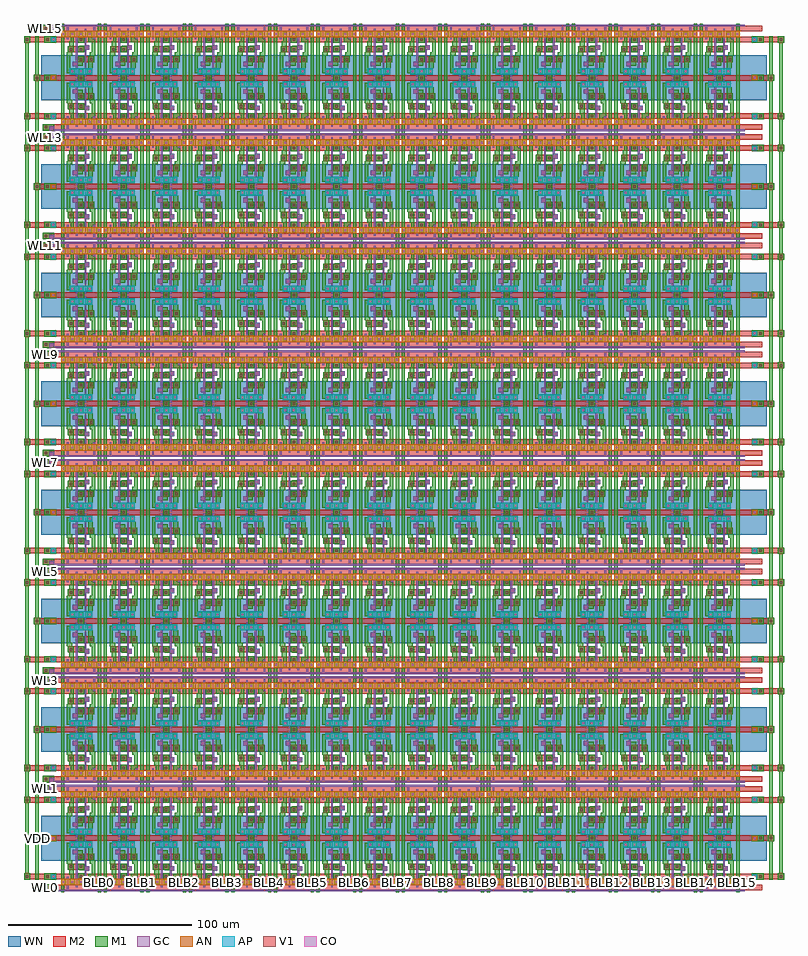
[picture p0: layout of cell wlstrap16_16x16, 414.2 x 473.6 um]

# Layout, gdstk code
import gdstk
lib = gdstk.Library(unit=1e-6, precision=1e-07)
def R(c, l, rs):  # rectangles x0, y0, x1, y1
    for r in rs: c.add(gdstk.rectangle(r[:2], r[2:], *l))
def A(c, l, x, y, w, h, nx, ny, dx, dy):  # array of equal rectangles
    R(c, l, [(x+i*dx, y+j*dy, x+i*dx+w, y+j*dy+h) for i in range(nx) for j in range(ny)])
def P(c, l, *ps):  # polygons
    for p in ps: c.add(gdstk.Polygon(p, *l))
AP = (3, 1)
AN = (3, 2)
GC = (8, 1)
CO = (11, 0)
M1 = (13, 0)
V1 = (19, 0)
M2 = (20, 0)
WN = (140, 0)

euler = lib.new_cell('euler')
R(euler, AP, [(3.5,18.7,15.7,22.1)])
R(euler, AN, [(-1.3,-1.7,20.5,1.7)])
R(euler, GC, [(0,-5.1,23.2,-4.1), (1.9,-5.1,2.9,2.9), (16.3,-5.1,17.3,2.9), (6.7,-2.9,7.7,23.3), (11.5,-2.9,12.5,23.3), (11.5,6.1,14.1,8.7), (11.5,6.9,13.3,7.9), (5.1,15.1,7.7,17.7), (5.9,15.9,7.7,16.9)])
A(euler, CO, -0.5, -0.5, 1, 1, 5, 1, 4.8, 0)
A(euler, CO, 4.3, 19.9, 1, 1, 3, 1, 4.8, 0)
R(euler, CO, [(12.3,6.9,13.3,7.9), (5.9,15.9,6.9,16.9)])
P(euler, M1, [(8.3,-1.3),(8.3,1.3),(7.9,1.3),(7.9,4.7),(11.3,4.7),(11.3,1.3),(10.9,1.3),(10.9,-1.3)],
  [(11.5,6.1),(11.5,6.5),(8.7,6.5),(8.7,6.7),(7.9,6.7),(7.9,10.1),(11.3,10.1),(11.3,8.7),(14.1,8.7),(14.1,6.1)],
  [(7.9,12.1),(7.9,15.1),(5.1,15.1),(5.1,17.7),(7.7,17.7),(7.7,17.3),(10.5,17.3),(10.5,15.5),(11.3,15.5),(11.3,12.1)],
  [(3.5,-1.3),(3.5,1.3),(3.9,1.3),(3.9,4.1),(3.1,4.1),(3.1,6.7),(2.3,6.7),(2.3,10.1),(1.9,10.1),(1.9,21.3),(3.5,21.3),(3.5,21.7),(6.1,21.7),(6.1,19.1),(3.7,19.1),(3.7,11.9),(4.9,11.9),(4.9,10.1),(5.7,10.1),(5.7,1.3),(6.1,1.3),(6.1,-1.3)],
  [(13.1,-1.3),(13.1,1.3),(13.5,1.3),(13.5,4.5),(15.5,4.5),(15.5,10.1),(14.3,10.1),(14.3,12.1),(13.5,12.1),(13.5,19.1),(13.1,19.1),(13.1,21.7),(15.7,21.7),(15.7,18.7),(16.1,18.7),(16.1,15.5),(16.9,15.5),(16.9,11.9),(17.3,11.9),(17.3,2.7),(15.7,2.7),(15.7,-1.3)],
  [(-1.3,-5.7),(-1.3,23.9),(0.5,23.9),(0.5,1.3),(1.3,1.3),(1.3,-1.3),(0.5,-1.3),(0.5,-5.7)],
  [(18.7,-5.7),(18.7,-1.3),(17.9,-1.3),(17.9,1.3),(18.7,1.3),(18.7,23.9),(20.5,23.9),(20.5,-5.7)],
  [(8.3,19.1),(8.3,22.2),(7.9,22.2),(7.9,25.6),(11.3,25.6),(11.3,22.2),(10.9,22.2),(10.9,19.1)])
A(euler, V1, 8.9, 2.3, 1.4, 1.4, 1, 3, 0, 5.4)
R(euler, V1, [(3.3,7.7,4.7,9.1), (14.5,13.1,15.9,14.5), (8.9,23.2,10.3,24.6)])
A(euler, M2, 7.9, 1.3, 3.4, 3.4, 1, 3, 0, 5.4)
R(euler, M2, [(0,-4.5,23.2,-1.5), (0,1.5,23.2,4.5), (2.3,6.7,5.7,10.1), (2.3,6.7,11.3,10.1), (7.9,12.1,16.9,15.5), (13.5,12.1,16.9,15.5), (7.9,22.2,11.3,25.6), (0,22.4,23.2,25.4)])
R(euler, WN, [(-3.5,11.7,26.7,29.1)])

wlstrap16_16x16 = lib.new_cell('wlstrap16_16x16')
R(wlstrap16_16x16, AP, [(-6.9,7.4,-4.3,10), (375.5,7.4,378.1,10), (-6.9,49.2,-4.3,51.8), (375.5,49.2,378.1,51.8), (-6.9,66.6,-4.3,69.2), (375.5,66.6,378.1,69.2), (-6.9,108.4,-4.3,111), (375.5,108.4,378.1,111), (-6.9,125.8,-4.3,128.4), (375.5,125.8,378.1,128.4), (-6.9,167.6,-4.3,170.2), (375.5,167.6,378.1,170.2), (-6.9,185,-4.3,187.6), (375.5,185,378.1,187.6), (-6.9,226.8,-4.3,229.4), (375.5,226.8,378.1,229.4), (-6.9,244.2,-4.3,246.8), (375.5,244.2,378.1,246.8), (-6.9,286,-4.3,288.6), (375.5,286,378.1,288.6), (-6.9,303.4,-4.3,306), (375.5,303.4,378.1,306), (-6.9,345.2,-4.3,347.8), (375.5,345.2,378.1,347.8), (-6.9,362.6,-4.3,365.2), (375.5,362.6,378.1,365.2), (-6.9,404.4,-4.3,407), (375.5,404.4,378.1,407), (-6.9,421.8,-4.3,424.4), (375.5,421.8,378.1,424.4), (-6.9,463.6,-4.3,466.2), (375.5,463.6,378.1,466.2)])
A(wlstrap16_16x16, AN, -6.9, 28.3, 2.6, 2.6, 1, 8, 0, 59.2)
A(wlstrap16_16x16, AN, 375.5, 28.3, 2.6, 2.6, 1, 8, 0, 59.2)
R(wlstrap16_16x16, GC, [(-6.9,0.6,-5.9,2.5), (-6.4,0.6,0,1.6), (-7.7,0.7,-5.1,3.3), (-7.7,55.9,-5.1,58.5), (-6.9,56.7,-5.9,58.6), (-6.4,57.6,0,58.6), (-6.9,59.8,-5.9,61.7), (-6.4,59.8,0,60.8), (-7.7,59.9,-5.1,62.5), (-7.7,115.1,-5.1,117.7), (-6.9,115.9,-5.9,117.8), (-6.4,116.8,0,117.8), (-6.9,119,-5.9,120.9), (-6.4,119,0,120), (-7.7,119.1,-5.1,121.7), (-7.7,174.3,-5.1,176.9), (-6.9,175.1,-5.9,177), (-6.4,176,0,177), (-6.9,178.2,-5.9,180.1), (-6.4,178.2,0,179.2), (-7.7,178.3,-5.1,180.9), (-7.7,233.5,-5.1,236.1), (-6.9,234.3,-5.9,236.2), (-6.4,235.2,0,236.2), (-6.9,237.4,-5.9,239.3), (-6.4,237.4,0,238.4), (-7.7,237.5,-5.1,240.1), (-7.7,292.7,-5.1,295.3), (-6.9,293.5,-5.9,295.4), (-6.4,294.4,0,295.4), (-6.9,296.6,-5.9,298.5), (-6.4,296.6,0,297.6), (-7.7,296.7,-5.1,299.3), (-7.7,351.9,-5.1,354.5), (-6.9,352.7,-5.9,354.6), (-6.4,353.6,0,354.6), (-6.9,355.8,-5.9,357.7), (-6.4,355.8,0,356.8), (-7.7,355.9,-5.1,358.5), (-7.7,411.1,-5.1,413.7), (-6.9,411.9,-5.9,413.8), (-6.4,412.8,0,413.8), (-6.9,415,-5.9,416.9), (-6.4,415,0,416), (-7.7,415.1,-5.1,417.7), (-7.7,470.3,-5.1,472.9), (-6.9,471.1,-5.9,473), (-6.4,472,0,473)])
A(wlstrap16_16x16, CO, -6.1, 8.2, 1, 1, 1, 3, 0, 20.9)
A(wlstrap16_16x16, CO, 376.3, 8.2, 1, 1, 1, 3, 0, 20.9)
A(wlstrap16_16x16, CO, -6.1, 67.4, 1, 1, 1, 3, 0, 20.9)
A(wlstrap16_16x16, CO, 376.3, 67.4, 1, 1, 1, 3, 0, 20.9)
A(wlstrap16_16x16, CO, -6.1, 126.6, 1, 1, 1, 3, 0, 20.9)
A(wlstrap16_16x16, CO, 376.3, 126.6, 1, 1, 1, 3, 0, 20.9)
A(wlstrap16_16x16, CO, -6.1, 185.8, 1, 1, 1, 3, 0, 20.9)
A(wlstrap16_16x16, CO, 376.3, 185.8, 1, 1, 1, 3, 0, 20.9)
A(wlstrap16_16x16, CO, -6.1, 245, 1, 1, 1, 3, 0, 20.9)
A(wlstrap16_16x16, CO, 376.3, 245, 1, 1, 1, 3, 0, 20.9)
A(wlstrap16_16x16, CO, -6.1, 304.2, 1, 1, 1, 3, 0, 20.9)
A(wlstrap16_16x16, CO, 376.3, 304.2, 1, 1, 1, 3, 0, 20.9)
A(wlstrap16_16x16, CO, -6.1, 363.4, 1, 1, 1, 3, 0, 20.9)
A(wlstrap16_16x16, CO, 376.3, 363.4, 1, 1, 1, 3, 0, 20.9)
A(wlstrap16_16x16, CO, -6.1, 422.6, 1, 1, 1, 3, 0, 20.9)
A(wlstrap16_16x16, CO, 376.3, 422.6, 1, 1, 1, 3, 0, 20.9)
R(wlstrap16_16x16, CO, [(-6.9,1.5,-5.9,2.5), (-6.9,56.7,-5.9,57.7), (-6.9,60.7,-5.9,61.7), (-6.9,115.9,-5.9,116.9), (-6.9,119.9,-5.9,120.9), (-6.9,175.1,-5.9,176.1), (-6.9,179.1,-5.9,180.1), (-6.9,234.3,-5.9,235.3), (-6.9,238.3,-5.9,239.3), (-6.9,293.5,-5.9,294.5), (-6.9,297.5,-5.9,298.5), (-6.9,352.7,-5.9,353.7), (-6.9,356.7,-5.9,357.7), (-6.9,411.9,-5.9,412.9), (-6.9,415.9,-5.9,416.9), (-6.9,471.1,-5.9,472.1)])
A(wlstrap16_16x16, M1, -10.5, 7, 6.6, 3.4, 1, 3, 0, 20.9)
A(wlstrap16_16x16, M1, -10.5, 7, 3.4, 3.4, 1, 3, 0, 20.9)
A(wlstrap16_16x16, M1, 375.1, 7, 6.6, 3.4, 1, 3, 0, 20.9)
A(wlstrap16_16x16, M1, 378.3, 7, 3.4, 3.4, 1, 3, 0, 20.9)
A(wlstrap16_16x16, M1, -6.9, 7.4, 2.6, 2.6, 1, 3, 0, 20.9)
A(wlstrap16_16x16, M1, 375.5, 7.4, 2.6, 2.6, 1, 3, 0, 20.9)
A(wlstrap16_16x16, M1, -16.1, 27.9, 3.4, 3.4, 1, 8, 0, 59.2)
A(wlstrap16_16x16, M1, 383.9, 27.9, 3.4, 3.4, 1, 8, 0, 59.2)
A(wlstrap16_16x16, M1, -10.5, 66.2, 6.6, 3.4, 1, 3, 0, 20.9)
A(wlstrap16_16x16, M1, -10.5, 66.2, 3.4, 3.4, 1, 3, 0, 20.9)
A(wlstrap16_16x16, M1, 375.1, 66.2, 6.6, 3.4, 1, 3, 0, 20.9)
A(wlstrap16_16x16, M1, 378.3, 66.2, 3.4, 3.4, 1, 3, 0, 20.9)
A(wlstrap16_16x16, M1, -6.9, 66.6, 2.6, 2.6, 1, 3, 0, 20.9)
A(wlstrap16_16x16, M1, 375.5, 66.6, 2.6, 2.6, 1, 3, 0, 20.9)
A(wlstrap16_16x16, M1, -10.5, 125.4, 6.6, 3.4, 1, 3, 0, 20.9)
A(wlstrap16_16x16, M1, -10.5, 125.4, 3.4, 3.4, 1, 3, 0, 20.9)
A(wlstrap16_16x16, M1, 375.1, 125.4, 6.6, 3.4, 1, 3, 0, 20.9)
A(wlstrap16_16x16, M1, 378.3, 125.4, 3.4, 3.4, 1, 3, 0, 20.9)
A(wlstrap16_16x16, M1, -6.9, 125.8, 2.6, 2.6, 1, 3, 0, 20.9)
A(wlstrap16_16x16, M1, 375.5, 125.8, 2.6, 2.6, 1, 3, 0, 20.9)
A(wlstrap16_16x16, M1, -10.5, 184.6, 6.6, 3.4, 1, 3, 0, 20.9)
A(wlstrap16_16x16, M1, -10.5, 184.6, 3.4, 3.4, 1, 3, 0, 20.9)
A(wlstrap16_16x16, M1, 375.1, 184.6, 6.6, 3.4, 1, 3, 0, 20.9)
A(wlstrap16_16x16, M1, 378.3, 184.6, 3.4, 3.4, 1, 3, 0, 20.9)
A(wlstrap16_16x16, M1, -6.9, 185, 2.6, 2.6, 1, 3, 0, 20.9)
A(wlstrap16_16x16, M1, 375.5, 185, 2.6, 2.6, 1, 3, 0, 20.9)
A(wlstrap16_16x16, M1, -10.5, 243.8, 6.6, 3.4, 1, 3, 0, 20.9)
A(wlstrap16_16x16, M1, -10.5, 243.8, 3.4, 3.4, 1, 3, 0, 20.9)
A(wlstrap16_16x16, M1, 375.1, 243.8, 6.6, 3.4, 1, 3, 0, 20.9)
A(wlstrap16_16x16, M1, 378.3, 243.8, 3.4, 3.4, 1, 3, 0, 20.9)
A(wlstrap16_16x16, M1, -6.9, 244.2, 2.6, 2.6, 1, 3, 0, 20.9)
A(wlstrap16_16x16, M1, 375.5, 244.2, 2.6, 2.6, 1, 3, 0, 20.9)
A(wlstrap16_16x16, M1, -10.5, 303, 6.6, 3.4, 1, 3, 0, 20.9)
A(wlstrap16_16x16, M1, -10.5, 303, 3.4, 3.4, 1, 3, 0, 20.9)
A(wlstrap16_16x16, M1, 375.1, 303, 6.6, 3.4, 1, 3, 0, 20.9)
A(wlstrap16_16x16, M1, 378.3, 303, 3.4, 3.4, 1, 3, 0, 20.9)
A(wlstrap16_16x16, M1, -6.9, 303.4, 2.6, 2.6, 1, 3, 0, 20.9)
A(wlstrap16_16x16, M1, 375.5, 303.4, 2.6, 2.6, 1, 3, 0, 20.9)
A(wlstrap16_16x16, M1, -10.5, 362.2, 6.6, 3.4, 1, 3, 0, 20.9)
A(wlstrap16_16x16, M1, -10.5, 362.2, 3.4, 3.4, 1, 3, 0, 20.9)
A(wlstrap16_16x16, M1, 375.1, 362.2, 6.6, 3.4, 1, 3, 0, 20.9)
A(wlstrap16_16x16, M1, 378.3, 362.2, 3.4, 3.4, 1, 3, 0, 20.9)
A(wlstrap16_16x16, M1, -6.9, 362.6, 2.6, 2.6, 1, 3, 0, 20.9)
A(wlstrap16_16x16, M1, 375.5, 362.6, 2.6, 2.6, 1, 3, 0, 20.9)
A(wlstrap16_16x16, M1, -10.5, 421.4, 6.6, 3.4, 1, 3, 0, 20.9)
A(wlstrap16_16x16, M1, -10.5, 421.4, 3.4, 3.4, 1, 3, 0, 20.9)
A(wlstrap16_16x16, M1, 375.1, 421.4, 6.6, 3.4, 1, 3, 0, 20.9)
A(wlstrap16_16x16, M1, 378.3, 421.4, 3.4, 3.4, 1, 3, 0, 20.9)
A(wlstrap16_16x16, M1, -6.9, 421.8, 2.6, 2.6, 1, 3, 0, 20.9)
A(wlstrap16_16x16, M1, 375.5, 421.8, 2.6, 2.6, 1, 3, 0, 20.9)
R(wlstrap16_16x16, M1, [(-11.3,0.7,-5.1,4.4), (-7.7,0.7,-5.1,3.3), (-11.3,1,-7.9,4.4), (-21.5,7,-18.1,10.4), (-20.7,7,-18.9,466.6), (-15.3,7,-13.5,466.6), (384.7,7,386.5,466.6), (389.3,7,392.7,10.4), (390.1,7,391.9,466.6), (-21.5,48.8,-18.1,52.2), (389.3,48.8,392.7,52.2), (-11.3,54.8,-7.9,58.2), (-11.3,54.8,-5.1,58.5), (-7.7,55.9,-5.1,58.5), (-11.3,59.9,-5.1,63.6), (-7.7,59.9,-5.1,62.5), (-11.3,60.2,-7.9,63.6), (-21.5,66.2,-18.1,69.6), (389.3,66.2,392.7,69.6), (-21.5,108,-18.1,111.4), (389.3,108,392.7,111.4), (-11.3,114,-7.9,117.4), (-11.3,114,-5.1,117.7), (-7.7,115.1,-5.1,117.7), (-11.3,119.1,-5.1,122.8), (-7.7,119.1,-5.1,121.7), (-11.3,119.4,-7.9,122.8), (-21.5,125.4,-18.1,128.8), (389.3,125.4,392.7,128.8), (-21.5,167.2,-18.1,170.6), (389.3,167.2,392.7,170.6), (-11.3,173.2,-7.9,176.6), (-11.3,173.2,-5.1,176.9), (-7.7,174.3,-5.1,176.9), (-11.3,178.3,-5.1,182), (-7.7,178.3,-5.1,180.9), (-11.3,178.6,-7.9,182), (-21.5,184.6,-18.1,188), (389.3,184.6,392.7,188), (-21.5,226.4,-18.1,229.8), (389.3,226.4,392.7,229.8), (-11.3,232.4,-7.9,235.8), (-11.3,232.4,-5.1,236.1), (-7.7,233.5,-5.1,236.1), (-11.3,237.5,-5.1,241.2), (-7.7,237.5,-5.1,240.1), (-11.3,237.8,-7.9,241.2), (-21.5,243.8,-18.1,247.2), (389.3,243.8,392.7,247.2), (-21.5,285.6,-18.1,289), (389.3,285.6,392.7,289), (-11.3,291.6,-7.9,295), (-11.3,291.6,-5.1,295.3), (-7.7,292.7,-5.1,295.3), (-11.3,296.7,-5.1,300.4), (-7.7,296.7,-5.1,299.3), (-11.3,297,-7.9,300.4), (-21.5,303,-18.1,306.4), (389.3,303,392.7,306.4), (-21.5,344.8,-18.1,348.2), (389.3,344.8,392.7,348.2), (-11.3,350.8,-7.9,354.2), (-11.3,350.8,-5.1,354.5), (-7.7,351.9,-5.1,354.5), (-11.3,355.9,-5.1,359.6), (-7.7,355.9,-5.1,358.5), (-11.3,356.2,-7.9,359.6), (-21.5,362.2,-18.1,365.6), (389.3,362.2,392.7,365.6), (-21.5,404,-18.1,407.4), (389.3,404,392.7,407.4), (-11.3,410,-7.9,413.4), (-11.3,410,-5.1,413.7), (-7.7,411.1,-5.1,413.7), (-11.3,415.1,-5.1,418.8), (-7.7,415.1,-5.1,417.7), (-11.3,415.4,-7.9,418.8), (-21.5,421.4,-18.1,424.8), (389.3,421.4,392.7,424.8), (-21.5,463.2,-18.1,466.6), (389.3,463.2,392.7,466.6), (-11.3,469.2,-7.9,472.6), (-11.3,469.2,-5.1,472.9), (-7.7,470.3,-5.1,472.9)])
A(wlstrap16_16x16, V1, -9.5, 8, 1.4, 1.4, 1, 3, 0, 20.9)
A(wlstrap16_16x16, V1, 379.3, 8, 1.4, 1.4, 1, 3, 0, 20.9)
A(wlstrap16_16x16, V1, -15.1, 28.9, 1.4, 1.4, 1, 8, 0, 59.2)
A(wlstrap16_16x16, V1, 384.9, 28.9, 1.4, 1.4, 1, 8, 0, 59.2)
A(wlstrap16_16x16, V1, -9.5, 67.2, 1.4, 1.4, 1, 3, 0, 20.9)
A(wlstrap16_16x16, V1, 379.3, 67.2, 1.4, 1.4, 1, 3, 0, 20.9)
A(wlstrap16_16x16, V1, -9.5, 126.4, 1.4, 1.4, 1, 3, 0, 20.9)
A(wlstrap16_16x16, V1, 379.3, 126.4, 1.4, 1.4, 1, 3, 0, 20.9)
A(wlstrap16_16x16, V1, -9.5, 185.6, 1.4, 1.4, 1, 3, 0, 20.9)
A(wlstrap16_16x16, V1, 379.3, 185.6, 1.4, 1.4, 1, 3, 0, 20.9)
A(wlstrap16_16x16, V1, -9.5, 244.8, 1.4, 1.4, 1, 3, 0, 20.9)
A(wlstrap16_16x16, V1, 379.3, 244.8, 1.4, 1.4, 1, 3, 0, 20.9)
A(wlstrap16_16x16, V1, -9.5, 304, 1.4, 1.4, 1, 3, 0, 20.9)
A(wlstrap16_16x16, V1, 379.3, 304, 1.4, 1.4, 1, 3, 0, 20.9)
A(wlstrap16_16x16, V1, -9.5, 363.2, 1.4, 1.4, 1, 3, 0, 20.9)
A(wlstrap16_16x16, V1, 379.3, 363.2, 1.4, 1.4, 1, 3, 0, 20.9)
A(wlstrap16_16x16, V1, -9.5, 422.4, 1.4, 1.4, 1, 3, 0, 20.9)
A(wlstrap16_16x16, V1, 379.3, 422.4, 1.4, 1.4, 1, 3, 0, 20.9)
R(wlstrap16_16x16, V1, [(-10.3,2,-8.9,3.4), (-20.5,8,-19.1,9.4), (390.3,8,391.7,9.4), (-20.5,49.8,-19.1,51.2), (390.3,49.8,391.7,51.2), (-10.3,55.8,-8.9,57.2), (-10.3,61.2,-8.9,62.6), (-20.5,67.2,-19.1,68.6), (390.3,67.2,391.7,68.6), (-20.5,109,-19.1,110.4), (390.3,109,391.7,110.4), (-10.3,115,-8.9,116.4), (-10.3,120.4,-8.9,121.8), (-20.5,126.4,-19.1,127.8), (390.3,126.4,391.7,127.8), (-20.5,168.2,-19.1,169.6), (390.3,168.2,391.7,169.6), (-10.3,174.2,-8.9,175.6), (-10.3,179.6,-8.9,181), (-20.5,185.6,-19.1,187), (390.3,185.6,391.7,187), (-20.5,227.4,-19.1,228.8), (390.3,227.4,391.7,228.8), (-10.3,233.4,-8.9,234.8), (-10.3,238.8,-8.9,240.2), (-20.5,244.8,-19.1,246.2), (390.3,244.8,391.7,246.2), (-20.5,286.6,-19.1,288), (390.3,286.6,391.7,288), (-10.3,292.6,-8.9,294), (-10.3,298,-8.9,299.4), (-20.5,304,-19.1,305.4), (390.3,304,391.7,305.4), (-20.5,345.8,-19.1,347.2), (390.3,345.8,391.7,347.2), (-10.3,351.8,-8.9,353.2), (-10.3,357.2,-8.9,358.6), (-20.5,363.2,-19.1,364.6), (390.3,363.2,391.7,364.6), (-20.5,405,-19.1,406.4), (390.3,405,391.7,406.4), (-10.3,411,-8.9,412.4), (-10.3,416.4,-8.9,417.8), (-20.5,422.4,-19.1,423.8), (390.3,422.4,391.7,423.8), (-20.5,464.2,-19.1,465.6), (390.3,464.2,391.7,465.6), (-10.3,470.2,-8.9,471.6)])
A(wlstrap16_16x16, M2, -10.5, 7, 3.4, 3.4, 1, 3, 0, 20.9)
A(wlstrap16_16x16, M2, 378.3, 7, 3.4, 3.4, 1, 3, 0, 20.9)
A(wlstrap16_16x16, M2, -16.1, 27.9, 3.4, 3.4, 1, 8, 0, 59.2)
A(wlstrap16_16x16, M2, 383.9, 27.9, 3.4, 3.4, 1, 8, 0, 59.2)
A(wlstrap16_16x16, M2, -16.1, 28.1, 389, 3, 1, 8, 0, 59.2)
A(wlstrap16_16x16, M2, -1.7, 28.1, 389, 3, 1, 8, 0, 59.2)
A(wlstrap16_16x16, M2, -10.5, 66.2, 3.4, 3.4, 1, 3, 0, 20.9)
A(wlstrap16_16x16, M2, 378.3, 66.2, 3.4, 3.4, 1, 3, 0, 20.9)
A(wlstrap16_16x16, M2, -10.5, 125.4, 3.4, 3.4, 1, 3, 0, 20.9)
A(wlstrap16_16x16, M2, 378.3, 125.4, 3.4, 3.4, 1, 3, 0, 20.9)
A(wlstrap16_16x16, M2, -10.5, 184.6, 3.4, 3.4, 1, 3, 0, 20.9)
A(wlstrap16_16x16, M2, 378.3, 184.6, 3.4, 3.4, 1, 3, 0, 20.9)
A(wlstrap16_16x16, M2, -10.5, 243.8, 3.4, 3.4, 1, 3, 0, 20.9)
A(wlstrap16_16x16, M2, 378.3, 243.8, 3.4, 3.4, 1, 3, 0, 20.9)
A(wlstrap16_16x16, M2, -10.5, 303, 3.4, 3.4, 1, 3, 0, 20.9)
A(wlstrap16_16x16, M2, 378.3, 303, 3.4, 3.4, 1, 3, 0, 20.9)
A(wlstrap16_16x16, M2, -10.5, 362.2, 3.4, 3.4, 1, 3, 0, 20.9)
A(wlstrap16_16x16, M2, 378.3, 362.2, 3.4, 3.4, 1, 3, 0, 20.9)
A(wlstrap16_16x16, M2, -10.5, 421.4, 3.4, 3.4, 1, 3, 0, 20.9)
A(wlstrap16_16x16, M2, 378.3, 421.4, 3.4, 3.4, 1, 3, 0, 20.9)
R(wlstrap16_16x16, M2, [(-11.3,1,-7.9,4.4), (-9.6,1.2,380.8,4.2), (-21.5,7,-18.1,10.4), (389.3,7,392.7,10.4), (-21.5,7.2,372.9,10.2), (-1.7,7.2,392.7,10.2), (-21.5,48.8,-18.1,52.2), (389.3,48.8,392.7,52.2), (-21.5,49,372.9,52), (-1.7,49,392.7,52), (-11.3,54.8,-7.9,58.2), (-9.6,55,380.8,58), (-11.3,60.2,-7.9,63.6), (-9.6,60.4,380.8,63.4), (-21.5,66.2,-18.1,69.6), (389.3,66.2,392.7,69.6), (-21.5,66.4,372.9,69.4), (-1.7,66.4,392.7,69.4), (-21.5,108,-18.1,111.4), (389.3,108,392.7,111.4), (-21.5,108.2,372.9,111.2), (-1.7,108.2,392.7,111.2), (-11.3,114,-7.9,117.4), (-9.6,114.2,380.8,117.2), (-11.3,119.4,-7.9,122.8), (-9.6,119.6,380.8,122.6), (-21.5,125.4,-18.1,128.8), (389.3,125.4,392.7,128.8), (-21.5,125.6,372.9,128.6), (-1.7,125.6,392.7,128.6), (-21.5,167.2,-18.1,170.6), (389.3,167.2,392.7,170.6), (-21.5,167.4,372.9,170.4), (-1.7,167.4,392.7,170.4), (-11.3,173.2,-7.9,176.6), (-9.6,173.4,380.8,176.4), (-11.3,178.6,-7.9,182), (-9.6,178.8,380.8,181.8), (-21.5,184.6,-18.1,188), (389.3,184.6,392.7,188), (-21.5,184.8,372.9,187.8), (-1.7,184.8,392.7,187.8), (-21.5,226.4,-18.1,229.8), (389.3,226.4,392.7,229.8), (-21.5,226.6,372.9,229.6), (-1.7,226.6,392.7,229.6), (-11.3,232.4,-7.9,235.8), (-9.6,232.6,380.8,235.6), (-11.3,237.8,-7.9,241.2), (-9.6,238,380.8,241), (-21.5,243.8,-18.1,247.2), (389.3,243.8,392.7,247.2), (-21.5,244,372.9,247), (-1.7,244,392.7,247), (-21.5,285.6,-18.1,289), (389.3,285.6,392.7,289), (-21.5,285.8,372.9,288.8), (-1.7,285.8,392.7,288.8), (-11.3,291.6,-7.9,295), (-9.6,291.8,380.8,294.8), (-11.3,297,-7.9,300.4), (-9.6,297.2,380.8,300.2), (-21.5,303,-18.1,306.4), (389.3,303,392.7,306.4), (-21.5,303.2,372.9,306.2), (-1.7,303.2,392.7,306.2), (-21.5,344.8,-18.1,348.2), (389.3,344.8,392.7,348.2), (-21.5,345,372.9,348), (-1.7,345,392.7,348), (-11.3,350.8,-7.9,354.2), (-9.6,351,380.8,354), (-11.3,356.2,-7.9,359.6), (-9.6,356.4,380.8,359.4), (-21.5,362.2,-18.1,365.6), (389.3,362.2,392.7,365.6), (-21.5,362.4,372.9,365.4), (-1.7,362.4,392.7,365.4), (-21.5,404,-18.1,407.4), (389.3,404,392.7,407.4), (-21.5,404.2,372.9,407.2), (-1.7,404.2,392.7,407.2), (-11.3,410,-7.9,413.4), (-9.6,410.2,380.8,413.2), (-11.3,415.4,-7.9,418.8), (-9.6,415.6,380.8,418.6), (-21.5,421.4,-18.1,424.8), (389.3,421.4,392.7,424.8), (-21.5,421.6,372.9,424.6), (-1.7,421.6,392.7,424.6), (-21.5,463.2,-18.1,466.6), (389.3,463.2,392.7,466.6), (-21.5,463.4,372.9,466.4), (-1.7,463.4,392.7,466.4), (-11.3,469.2,-7.9,472.6), (-9.6,469.4,380.8,472.4)])
A(wlstrap16_16x16, WN, -12, 17.4, 395.2, 24.4, 1, 8, 0, 59.2)
A(wlstrap16_16x16, WN, 0, 17.4, 383.2, 24.4, 1, 8, 0, 59.2)
wlstrap16_16x16.add(gdstk.Reference(euler, (162.4,5.7)))
wlstrap16_16x16.add(gdstk.Reference(euler, (185.6,5.7)))
wlstrap16_16x16.add(gdstk.Reference(euler, (162.4,53.5), x_reflection=True))
wlstrap16_16x16.add(gdstk.Reference(euler, (185.6,53.5), x_reflection=True))
wlstrap16_16x16.add(gdstk.Reference(euler, (162.4,64.9)))
wlstrap16_16x16.add(gdstk.Reference(euler, (185.6,64.9)))
wlstrap16_16x16.add(gdstk.Reference(euler, (162.4,112.7), x_reflection=True))
wlstrap16_16x16.add(gdstk.Reference(euler, (185.6,112.7), x_reflection=True))
wlstrap16_16x16.add(gdstk.Reference(euler, (162.4,124.1)))
wlstrap16_16x16.add(gdstk.Reference(euler, (185.6,124.1)))
wlstrap16_16x16.add(gdstk.Reference(euler, (162.4,171.9), x_reflection=True))
wlstrap16_16x16.add(gdstk.Reference(euler, (185.6,171.9), x_reflection=True))
wlstrap16_16x16.add(gdstk.Reference(euler, (162.4,183.3)))
wlstrap16_16x16.add(gdstk.Reference(euler, (185.6,183.3)))
wlstrap16_16x16.add(gdstk.Reference(euler, (162.4,231.1), x_reflection=True))
wlstrap16_16x16.add(gdstk.Reference(euler, (185.6,231.1), x_reflection=True))
wlstrap16_16x16.add(gdstk.Reference(euler, (162.4,242.5)))
wlstrap16_16x16.add(gdstk.Reference(euler, (185.6,242.5)))
wlstrap16_16x16.add(gdstk.Reference(euler, (162.4,290.3), x_reflection=True))
wlstrap16_16x16.add(gdstk.Reference(euler, (185.6,290.3), x_reflection=True))
wlstrap16_16x16.add(gdstk.Reference(euler, (162.4,301.7)))
wlstrap16_16x16.add(gdstk.Reference(euler, (185.6,301.7)))
wlstrap16_16x16.add(gdstk.Reference(euler, (162.4,349.5), x_reflection=True))
wlstrap16_16x16.add(gdstk.Reference(euler, (185.6,349.5), x_reflection=True))
wlstrap16_16x16.add(gdstk.Reference(euler, (162.4,360.9)))
wlstrap16_16x16.add(gdstk.Reference(euler, (185.6,360.9)))
wlstrap16_16x16.add(gdstk.Reference(euler, (162.4,408.7), x_reflection=True))
wlstrap16_16x16.add(gdstk.Reference(euler, (185.6,408.7), x_reflection=True))
wlstrap16_16x16.add(gdstk.Reference(euler, (162.4,420.1)))
wlstrap16_16x16.add(gdstk.Reference(euler, (185.6,420.1)))
wlstrap16_16x16.add(gdstk.Reference(euler, (162.4,467.9), x_reflection=True))
wlstrap16_16x16.add(gdstk.Reference(euler, (185.6,467.9), x_reflection=True))
wlstrap16_16x16.add(gdstk.Reference(euler, (324.8,290.3), x_reflection=True))
wlstrap16_16x16.add(gdstk.Reference(euler, (348,290.3), x_reflection=True))
wlstrap16_16x16.add(gdstk.Reference(euler, (255.2,242.5)))
wlstrap16_16x16.add(gdstk.Reference(euler, (278.4,242.5)))
wlstrap16_16x16.add(gdstk.Reference(euler, (208.8,301.7)))
wlstrap16_16x16.add(gdstk.Reference(euler, (232,301.7)))
wlstrap16_16x16.add(gdstk.Reference(euler, (255.2,301.7)))
wlstrap16_16x16.add(gdstk.Reference(euler, (278.4,301.7)))
wlstrap16_16x16.add(gdstk.Reference(euler, (301.6,301.7)))
wlstrap16_16x16.add(gdstk.Reference(euler, (324.8,301.7)))
wlstrap16_16x16.add(gdstk.Reference(euler, (348,301.7)))
wlstrap16_16x16.add(gdstk.Reference(euler, (301.6,242.5)))
wlstrap16_16x16.add(gdstk.Reference(euler, (324.8,242.5)))
wlstrap16_16x16.add(gdstk.Reference(euler, (208.8,349.5), x_reflection=True))
wlstrap16_16x16.add(gdstk.Reference(euler, (232,349.5), x_reflection=True))
wlstrap16_16x16.add(gdstk.Reference(euler, (255.2,349.5), x_reflection=True))
wlstrap16_16x16.add(gdstk.Reference(euler, (278.4,349.5), x_reflection=True))
wlstrap16_16x16.add(gdstk.Reference(euler, (301.6,349.5), x_reflection=True))
wlstrap16_16x16.add(gdstk.Reference(euler, (324.8,349.5), x_reflection=True))
wlstrap16_16x16.add(gdstk.Reference(euler, (348,349.5), x_reflection=True))
wlstrap16_16x16.add(gdstk.Reference(euler, (348,242.5)))
wlstrap16_16x16.add(gdstk.Reference(euler, (208.8,242.5)))
wlstrap16_16x16.add(gdstk.Reference(euler, (208.8,360.9)))
wlstrap16_16x16.add(gdstk.Reference(euler, (232,360.9)))
wlstrap16_16x16.add(gdstk.Reference(euler, (255.2,360.9)))
wlstrap16_16x16.add(gdstk.Reference(euler, (278.4,360.9)))
wlstrap16_16x16.add(gdstk.Reference(euler, (301.6,360.9)))
wlstrap16_16x16.add(gdstk.Reference(euler, (324.8,360.9)))
wlstrap16_16x16.add(gdstk.Reference(euler, (348,360.9)))
wlstrap16_16x16.add(gdstk.Reference(euler, (232,242.5)))
wlstrap16_16x16.add(gdstk.Reference(euler, (208.8,290.3), x_reflection=True))
wlstrap16_16x16.add(gdstk.Reference(euler, (208.8,408.7), x_reflection=True))
wlstrap16_16x16.add(gdstk.Reference(euler, (232,408.7), x_reflection=True))
wlstrap16_16x16.add(gdstk.Reference(euler, (255.2,408.7), x_reflection=True))
wlstrap16_16x16.add(gdstk.Reference(euler, (278.4,408.7), x_reflection=True))
wlstrap16_16x16.add(gdstk.Reference(euler, (301.6,408.7), x_reflection=True))
wlstrap16_16x16.add(gdstk.Reference(euler, (324.8,408.7), x_reflection=True))
wlstrap16_16x16.add(gdstk.Reference(euler, (348,408.7), x_reflection=True))
wlstrap16_16x16.add(gdstk.Reference(euler, (232,290.3), x_reflection=True))
wlstrap16_16x16.add(gdstk.Reference(euler, (255.2,290.3), x_reflection=True))
wlstrap16_16x16.add(gdstk.Reference(euler, (208.8,420.1)))
wlstrap16_16x16.add(gdstk.Reference(euler, (232,420.1)))
wlstrap16_16x16.add(gdstk.Reference(euler, (255.2,420.1)))
wlstrap16_16x16.add(gdstk.Reference(euler, (278.4,420.1)))
wlstrap16_16x16.add(gdstk.Reference(euler, (301.6,420.1)))
wlstrap16_16x16.add(gdstk.Reference(euler, (324.8,420.1)))
wlstrap16_16x16.add(gdstk.Reference(euler, (348,420.1)))
wlstrap16_16x16.add(gdstk.Reference(euler, (278.4,290.3), x_reflection=True))
wlstrap16_16x16.add(gdstk.Reference(euler, (301.6,290.3), x_reflection=True))
wlstrap16_16x16.add(gdstk.Reference(euler, (208.8,467.9), x_reflection=True))
wlstrap16_16x16.add(gdstk.Reference(euler, (232,467.9), x_reflection=True))
wlstrap16_16x16.add(gdstk.Reference(euler, (255.2,467.9), x_reflection=True))
wlstrap16_16x16.add(gdstk.Reference(euler, (278.4,467.9), x_reflection=True))
wlstrap16_16x16.add(gdstk.Reference(euler, (301.6,467.9), x_reflection=True))
wlstrap16_16x16.add(gdstk.Reference(euler, (324.8,467.9), x_reflection=True))
wlstrap16_16x16.add(gdstk.Reference(euler, (348,467.9), x_reflection=True))
wlstrap16_16x16.add(gdstk.Reference(euler, (116,301.7)))
wlstrap16_16x16.add(gdstk.Reference(euler, (139.2,301.7)))
wlstrap16_16x16.add(gdstk.Reference(euler, (46.4,290.3), x_reflection=True))
wlstrap16_16x16.add(gdstk.Reference(euler, (69.6,290.3), x_reflection=True))
wlstrap16_16x16.add(gdstk.Reference(euler, (92.8,290.3), x_reflection=True))
wlstrap16_16x16.add(gdstk.Reference(euler, (116,290.3), x_reflection=True))
wlstrap16_16x16.add(gdstk.Reference(euler, (139.2,290.3), x_reflection=True))
wlstrap16_16x16.add(gdstk.Reference(euler, (46.4,242.5)))
wlstrap16_16x16.add(gdstk.Reference(euler, (0,408.7), x_reflection=True))
wlstrap16_16x16.add(gdstk.Reference(euler, (23.2,408.7), x_reflection=True))
wlstrap16_16x16.add(gdstk.Reference(euler, (46.4,408.7), x_reflection=True))
wlstrap16_16x16.add(gdstk.Reference(euler, (69.6,408.7), x_reflection=True))
wlstrap16_16x16.add(gdstk.Reference(euler, (92.8,408.7), x_reflection=True))
wlstrap16_16x16.add(gdstk.Reference(euler, (116,408.7), x_reflection=True))
wlstrap16_16x16.add(gdstk.Reference(euler, (139.2,408.7), x_reflection=True))
wlstrap16_16x16.add(gdstk.Reference(euler, (69.6,242.5)))
wlstrap16_16x16.add(gdstk.Reference(euler, (92.8,242.5)))
wlstrap16_16x16.add(gdstk.Reference(euler, (116,242.5)))
wlstrap16_16x16.add(gdstk.Reference(euler, (0,349.5), x_reflection=True))
wlstrap16_16x16.add(gdstk.Reference(euler, (23.2,349.5), x_reflection=True))
wlstrap16_16x16.add(gdstk.Reference(euler, (46.4,349.5), x_reflection=True))
wlstrap16_16x16.add(gdstk.Reference(euler, (69.6,349.5), x_reflection=True))
wlstrap16_16x16.add(gdstk.Reference(euler, (92.8,349.5), x_reflection=True))
wlstrap16_16x16.add(gdstk.Reference(euler, (116,349.5), x_reflection=True))
wlstrap16_16x16.add(gdstk.Reference(euler, (0,420.1)))
wlstrap16_16x16.add(gdstk.Reference(euler, (23.2,420.1)))
wlstrap16_16x16.add(gdstk.Reference(euler, (46.4,420.1)))
wlstrap16_16x16.add(gdstk.Reference(euler, (69.6,420.1)))
wlstrap16_16x16.add(gdstk.Reference(euler, (92.8,420.1)))
wlstrap16_16x16.add(gdstk.Reference(euler, (116,420.1)))
wlstrap16_16x16.add(gdstk.Reference(euler, (139.2,420.1)))
wlstrap16_16x16.add(gdstk.Reference(euler, (139.2,349.5), x_reflection=True))
wlstrap16_16x16.add(gdstk.Reference(euler, (139.2,242.5)))
wlstrap16_16x16.add(gdstk.Reference(euler, (0,242.5)))
wlstrap16_16x16.add(gdstk.Reference(euler, (23.2,242.5)))
wlstrap16_16x16.add(gdstk.Reference(euler, (0,290.3), x_reflection=True))
wlstrap16_16x16.add(gdstk.Reference(euler, (23.2,290.3), x_reflection=True))
wlstrap16_16x16.add(gdstk.Reference(euler, (0,301.7)))
wlstrap16_16x16.add(gdstk.Reference(euler, (23.2,301.7)))
wlstrap16_16x16.add(gdstk.Reference(euler, (46.4,301.7)))
wlstrap16_16x16.add(gdstk.Reference(euler, (0,467.9), x_reflection=True))
wlstrap16_16x16.add(gdstk.Reference(euler, (23.2,467.9), x_reflection=True))
wlstrap16_16x16.add(gdstk.Reference(euler, (46.4,467.9), x_reflection=True))
wlstrap16_16x16.add(gdstk.Reference(euler, (69.6,467.9), x_reflection=True))
wlstrap16_16x16.add(gdstk.Reference(euler, (92.8,467.9), x_reflection=True))
wlstrap16_16x16.add(gdstk.Reference(euler, (116,467.9), x_reflection=True))
wlstrap16_16x16.add(gdstk.Reference(euler, (139.2,467.9), x_reflection=True))
wlstrap16_16x16.add(gdstk.Reference(euler, (69.6,301.7)))
wlstrap16_16x16.add(gdstk.Reference(euler, (0,360.9)))
wlstrap16_16x16.add(gdstk.Reference(euler, (23.2,360.9)))
wlstrap16_16x16.add(gdstk.Reference(euler, (46.4,360.9)))
wlstrap16_16x16.add(gdstk.Reference(euler, (69.6,360.9)))
wlstrap16_16x16.add(gdstk.Reference(euler, (92.8,360.9)))
wlstrap16_16x16.add(gdstk.Reference(euler, (116,360.9)))
wlstrap16_16x16.add(gdstk.Reference(euler, (139.2,360.9)))
wlstrap16_16x16.add(gdstk.Reference(euler, (92.8,301.7)))
wlstrap16_16x16.add(gdstk.Reference(euler, (116,112.7), x_reflection=True))
wlstrap16_16x16.add(gdstk.Reference(euler, (139.2,112.7), x_reflection=True))
wlstrap16_16x16.add(gdstk.Reference(euler, (139.2,5.7)))
wlstrap16_16x16.add(gdstk.Reference(euler, (0,5.7)))
wlstrap16_16x16.add(gdstk.Reference(euler, (0,124.1)))
wlstrap16_16x16.add(gdstk.Reference(euler, (23.2,124.1)))
wlstrap16_16x16.add(gdstk.Reference(euler, (46.4,124.1)))
wlstrap16_16x16.add(gdstk.Reference(euler, (69.6,124.1)))
wlstrap16_16x16.add(gdstk.Reference(euler, (92.8,124.1)))
wlstrap16_16x16.add(gdstk.Reference(euler, (116,124.1)))
wlstrap16_16x16.add(gdstk.Reference(euler, (139.2,124.1)))
wlstrap16_16x16.add(gdstk.Reference(euler, (23.2,5.7)))
wlstrap16_16x16.add(gdstk.Reference(euler, (0,53.5), x_reflection=True))
wlstrap16_16x16.add(gdstk.Reference(euler, (0,171.9), x_reflection=True))
wlstrap16_16x16.add(gdstk.Reference(euler, (23.2,171.9), x_reflection=True))
wlstrap16_16x16.add(gdstk.Reference(euler, (46.4,171.9), x_reflection=True))
wlstrap16_16x16.add(gdstk.Reference(euler, (69.6,171.9), x_reflection=True))
wlstrap16_16x16.add(gdstk.Reference(euler, (92.8,171.9), x_reflection=True))
wlstrap16_16x16.add(gdstk.Reference(euler, (116,171.9), x_reflection=True))
wlstrap16_16x16.add(gdstk.Reference(euler, (139.2,171.9), x_reflection=True))
wlstrap16_16x16.add(gdstk.Reference(euler, (23.2,53.5), x_reflection=True))
wlstrap16_16x16.add(gdstk.Reference(euler, (46.4,53.5), x_reflection=True))
wlstrap16_16x16.add(gdstk.Reference(euler, (0,183.3)))
wlstrap16_16x16.add(gdstk.Reference(euler, (23.2,183.3)))
wlstrap16_16x16.add(gdstk.Reference(euler, (46.4,183.3)))
wlstrap16_16x16.add(gdstk.Reference(euler, (69.6,183.3)))
wlstrap16_16x16.add(gdstk.Reference(euler, (92.8,183.3)))
wlstrap16_16x16.add(gdstk.Reference(euler, (116,183.3)))
wlstrap16_16x16.add(gdstk.Reference(euler, (139.2,183.3)))
wlstrap16_16x16.add(gdstk.Reference(euler, (69.6,53.5), x_reflection=True))
wlstrap16_16x16.add(gdstk.Reference(euler, (92.8,53.5), x_reflection=True))
wlstrap16_16x16.add(gdstk.Reference(euler, (0,231.1), x_reflection=True))
wlstrap16_16x16.add(gdstk.Reference(euler, (23.2,231.1), x_reflection=True))
wlstrap16_16x16.add(gdstk.Reference(euler, (46.4,231.1), x_reflection=True))
wlstrap16_16x16.add(gdstk.Reference(euler, (69.6,231.1), x_reflection=True))
wlstrap16_16x16.add(gdstk.Reference(euler, (92.8,231.1), x_reflection=True))
wlstrap16_16x16.add(gdstk.Reference(euler, (116,231.1), x_reflection=True))
wlstrap16_16x16.add(gdstk.Reference(euler, (139.2,231.1), x_reflection=True))
wlstrap16_16x16.add(gdstk.Reference(euler, (116,53.5), x_reflection=True))
wlstrap16_16x16.add(gdstk.Reference(euler, (139.2,53.5), x_reflection=True))
wlstrap16_16x16.add(gdstk.Reference(euler, (46.4,5.7)))
wlstrap16_16x16.add(gdstk.Reference(euler, (69.6,5.7)))
wlstrap16_16x16.add(gdstk.Reference(euler, (0,64.9)))
wlstrap16_16x16.add(gdstk.Reference(euler, (23.2,64.9)))
wlstrap16_16x16.add(gdstk.Reference(euler, (46.4,64.9)))
wlstrap16_16x16.add(gdstk.Reference(euler, (69.6,64.9)))
wlstrap16_16x16.add(gdstk.Reference(euler, (92.8,64.9)))
wlstrap16_16x16.add(gdstk.Reference(euler, (116,64.9)))
wlstrap16_16x16.add(gdstk.Reference(euler, (139.2,64.9)))
wlstrap16_16x16.add(gdstk.Reference(euler, (92.8,5.7)))
wlstrap16_16x16.add(gdstk.Reference(euler, (116,5.7)))
wlstrap16_16x16.add(gdstk.Reference(euler, (0,112.7), x_reflection=True))
wlstrap16_16x16.add(gdstk.Reference(euler, (23.2,112.7), x_reflection=True))
wlstrap16_16x16.add(gdstk.Reference(euler, (46.4,112.7), x_reflection=True))
wlstrap16_16x16.add(gdstk.Reference(euler, (69.6,112.7), x_reflection=True))
wlstrap16_16x16.add(gdstk.Reference(euler, (92.8,112.7), x_reflection=True))
wlstrap16_16x16.add(gdstk.Reference(euler, (255.2,5.7)))
wlstrap16_16x16.add(gdstk.Reference(euler, (208.8,171.9), x_reflection=True))
wlstrap16_16x16.add(gdstk.Reference(euler, (232,171.9), x_reflection=True))
wlstrap16_16x16.add(gdstk.Reference(euler, (255.2,171.9), x_reflection=True))
wlstrap16_16x16.add(gdstk.Reference(euler, (278.4,171.9), x_reflection=True))
wlstrap16_16x16.add(gdstk.Reference(euler, (301.6,171.9), x_reflection=True))
wlstrap16_16x16.add(gdstk.Reference(euler, (324.8,171.9), x_reflection=True))
wlstrap16_16x16.add(gdstk.Reference(euler, (348,171.9), x_reflection=True))
wlstrap16_16x16.add(gdstk.Reference(euler, (278.4,5.7)))
wlstrap16_16x16.add(gdstk.Reference(euler, (301.6,5.7)))
wlstrap16_16x16.add(gdstk.Reference(euler, (324.8,5.7)))
wlstrap16_16x16.add(gdstk.Reference(euler, (208.8,112.7), x_reflection=True))
wlstrap16_16x16.add(gdstk.Reference(euler, (232,112.7), x_reflection=True))
wlstrap16_16x16.add(gdstk.Reference(euler, (255.2,112.7), x_reflection=True))
wlstrap16_16x16.add(gdstk.Reference(euler, (278.4,112.7), x_reflection=True))
wlstrap16_16x16.add(gdstk.Reference(euler, (301.6,112.7), x_reflection=True))
wlstrap16_16x16.add(gdstk.Reference(euler, (324.8,112.7), x_reflection=True))
wlstrap16_16x16.add(gdstk.Reference(euler, (208.8,183.3)))
wlstrap16_16x16.add(gdstk.Reference(euler, (232,183.3)))
wlstrap16_16x16.add(gdstk.Reference(euler, (255.2,183.3)))
wlstrap16_16x16.add(gdstk.Reference(euler, (278.4,183.3)))
wlstrap16_16x16.add(gdstk.Reference(euler, (301.6,183.3)))
wlstrap16_16x16.add(gdstk.Reference(euler, (324.8,183.3)))
wlstrap16_16x16.add(gdstk.Reference(euler, (348,183.3)))
wlstrap16_16x16.add(gdstk.Reference(euler, (348,112.7), x_reflection=True))
wlstrap16_16x16.add(gdstk.Reference(euler, (348,5.7)))
wlstrap16_16x16.add(gdstk.Reference(euler, (208.8,5.7)))
wlstrap16_16x16.add(gdstk.Reference(euler, (232,5.7)))
wlstrap16_16x16.add(gdstk.Reference(euler, (208.8,53.5), x_reflection=True))
wlstrap16_16x16.add(gdstk.Reference(euler, (232,53.5), x_reflection=True))
wlstrap16_16x16.add(gdstk.Reference(euler, (208.8,64.9)))
wlstrap16_16x16.add(gdstk.Reference(euler, (232,64.9)))
wlstrap16_16x16.add(gdstk.Reference(euler, (255.2,64.9)))
wlstrap16_16x16.add(gdstk.Reference(euler, (208.8,231.1), x_reflection=True))
wlstrap16_16x16.add(gdstk.Reference(euler, (232,231.1), x_reflection=True))
wlstrap16_16x16.add(gdstk.Reference(euler, (255.2,231.1), x_reflection=True))
wlstrap16_16x16.add(gdstk.Reference(euler, (278.4,231.1), x_reflection=True))
wlstrap16_16x16.add(gdstk.Reference(euler, (301.6,231.1), x_reflection=True))
wlstrap16_16x16.add(gdstk.Reference(euler, (324.8,231.1), x_reflection=True))
wlstrap16_16x16.add(gdstk.Reference(euler, (348,231.1), x_reflection=True))
wlstrap16_16x16.add(gdstk.Reference(euler, (278.4,64.9)))
wlstrap16_16x16.add(gdstk.Reference(euler, (208.8,124.1)))
wlstrap16_16x16.add(gdstk.Reference(euler, (232,124.1)))
wlstrap16_16x16.add(gdstk.Reference(euler, (255.2,124.1)))
wlstrap16_16x16.add(gdstk.Reference(euler, (278.4,124.1)))
wlstrap16_16x16.add(gdstk.Reference(euler, (301.6,124.1)))
wlstrap16_16x16.add(gdstk.Reference(euler, (324.8,124.1)))
wlstrap16_16x16.add(gdstk.Reference(euler, (348,124.1)))
wlstrap16_16x16.add(gdstk.Reference(euler, (301.6,64.9)))
wlstrap16_16x16.add(gdstk.Reference(euler, (324.8,64.9)))
wlstrap16_16x16.add(gdstk.Reference(euler, (348,64.9)))
wlstrap16_16x16.add(gdstk.Reference(euler, (255.2,53.5), x_reflection=True))
wlstrap16_16x16.add(gdstk.Reference(euler, (278.4,53.5), x_reflection=True))
wlstrap16_16x16.add(gdstk.Reference(euler, (301.6,53.5), x_reflection=True))
wlstrap16_16x16.add(gdstk.Reference(euler, (324.8,53.5), x_reflection=True))
wlstrap16_16x16.add(gdstk.Reference(euler, (348,53.5), x_reflection=True))
wlstrap16_16x16.add(gdstk.Label('WL0', (-9.6,2.7), layer=49, texttype=0))
wlstrap16_16x16.add(gdstk.Label('WL1', (-9.6,56.5), layer=49, texttype=0))
wlstrap16_16x16.add(gdstk.Label('WL2', (-9.6,61.9), layer=49, texttype=0))
wlstrap16_16x16.add(gdstk.Label('WL3', (-9.6,115.7), layer=49, texttype=0))
wlstrap16_16x16.add(gdstk.Label('WL4', (-9.6,121.1), layer=49, texttype=0))
wlstrap16_16x16.add(gdstk.Label('WL5', (-9.6,174.9), layer=49, texttype=0))
wlstrap16_16x16.add(gdstk.Label('WL6', (-9.6,180.3), layer=49, texttype=0))
wlstrap16_16x16.add(gdstk.Label('WL7', (-9.6,234.1), layer=49, texttype=0))
wlstrap16_16x16.add(gdstk.Label('WL8', (-9.6,239.5), layer=49, texttype=0))
wlstrap16_16x16.add(gdstk.Label('WL9', (-9.6,293.3), layer=49, texttype=0))
wlstrap16_16x16.add(gdstk.Label('WL10', (-9.6,298.7), layer=49, texttype=0))
wlstrap16_16x16.add(gdstk.Label('WL11', (-9.6,352.5), layer=49, texttype=0))
wlstrap16_16x16.add(gdstk.Label('WL12', (-9.6,357.9), layer=49, texttype=0))
wlstrap16_16x16.add(gdstk.Label('WL13', (-9.6,411.7), layer=49, texttype=0))
wlstrap16_16x16.add(gdstk.Label('WL14', (-9.6,417.1), layer=49, texttype=0))
wlstrap16_16x16.add(gdstk.Label('WL15', (-9.6,470.9), layer=49, texttype=0))
wlstrap16_16x16.add(gdstk.Label('VDD', (-14.4,29.6), layer=48, texttype=0))
wlstrap16_16x16.add(gdstk.Label('VSS', (-19.8,8.7), layer=48, texttype=0))
wlstrap16_16x16.add(gdstk.Label('BL0', (-0.4,5.7), layer=48, texttype=0))
wlstrap16_16x16.add(gdstk.Label('BLB0', (19.6,5.7), layer=48, texttype=0))
wlstrap16_16x16.add(gdstk.Label('BL1', (22.8,5.7), layer=48, texttype=0))
wlstrap16_16x16.add(gdstk.Label('BLB1', (42.8,5.7), layer=48, texttype=0))
wlstrap16_16x16.add(gdstk.Label('BL2', (46,5.7), layer=48, texttype=0))
wlstrap16_16x16.add(gdstk.Label('BLB2', (66,5.7), layer=48, texttype=0))
wlstrap16_16x16.add(gdstk.Label('BL3', (69.2,5.7), layer=48, texttype=0))
wlstrap16_16x16.add(gdstk.Label('BLB3', (89.2,5.7), layer=48, texttype=0))
wlstrap16_16x16.add(gdstk.Label('BL4', (92.4,5.7), layer=48, texttype=0))
wlstrap16_16x16.add(gdstk.Label('BLB4', (112.4,5.7), layer=48, texttype=0))
wlstrap16_16x16.add(gdstk.Label('BL5', (115.6,5.7), layer=48, texttype=0))
wlstrap16_16x16.add(gdstk.Label('BLB5', (135.6,5.7), layer=48, texttype=0))
wlstrap16_16x16.add(gdstk.Label('BL6', (138.8,5.7), layer=48, texttype=0))
wlstrap16_16x16.add(gdstk.Label('BLB6', (158.8,5.7), layer=48, texttype=0))
wlstrap16_16x16.add(gdstk.Label('BL7', (162,5.7), layer=48, texttype=0))
wlstrap16_16x16.add(gdstk.Label('BLB7', (182,5.7), layer=48, texttype=0))
wlstrap16_16x16.add(gdstk.Label('BL8', (185.2,5.7), layer=48, texttype=0))
wlstrap16_16x16.add(gdstk.Label('BLB8', (205.2,5.7), layer=48, texttype=0))
wlstrap16_16x16.add(gdstk.Label('BL9', (208.4,5.7), layer=48, texttype=0))
wlstrap16_16x16.add(gdstk.Label('BLB9', (228.4,5.7), layer=48, texttype=0))
wlstrap16_16x16.add(gdstk.Label('BL10', (231.6,5.7), layer=48, texttype=0))
wlstrap16_16x16.add(gdstk.Label('BLB10', (251.6,5.7), layer=48, texttype=0))
wlstrap16_16x16.add(gdstk.Label('BL11', (254.8,5.7), layer=48, texttype=0))
wlstrap16_16x16.add(gdstk.Label('BLB11', (274.8,5.7), layer=48, texttype=0))
wlstrap16_16x16.add(gdstk.Label('BL12', (278,5.7), layer=48, texttype=0))
wlstrap16_16x16.add(gdstk.Label('BLB12', (298,5.7), layer=48, texttype=0))
wlstrap16_16x16.add(gdstk.Label('BL13', (301.2,5.7), layer=48, texttype=0))
wlstrap16_16x16.add(gdstk.Label('BLB13', (321.2,5.7), layer=48, texttype=0))
wlstrap16_16x16.add(gdstk.Label('BL14', (324.4,5.7), layer=48, texttype=0))
wlstrap16_16x16.add(gdstk.Label('BLB14', (344.4,5.7), layer=48, texttype=0))
wlstrap16_16x16.add(gdstk.Label('BL15', (347.6,5.7), layer=48, texttype=0))
wlstrap16_16x16.add(gdstk.Label('BLB15', (367.6,5.7), layer=48, texttype=0))

lib.write_gds('wlstrap16_16x16.gds')
